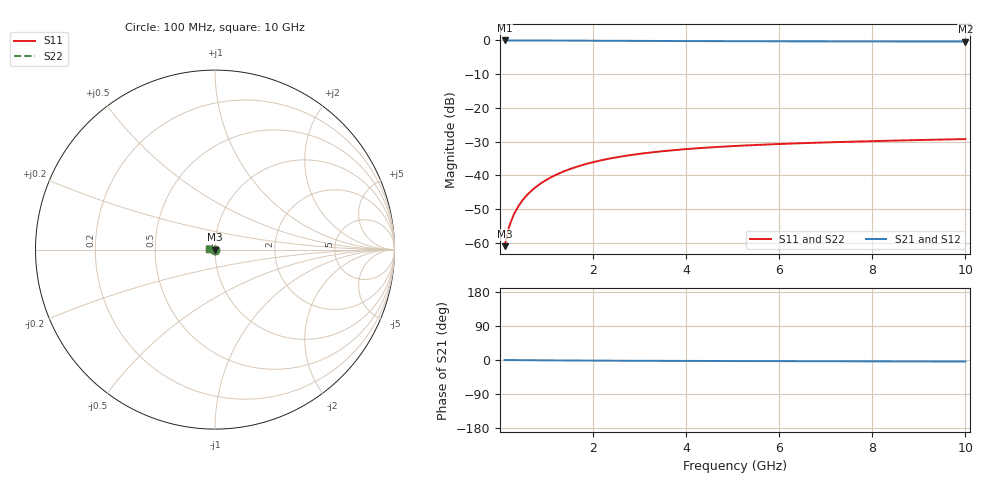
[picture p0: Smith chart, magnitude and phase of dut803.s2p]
! Touchstone file exported from HFSS 2024.1.0
!  File:  C:/UserFiles/LocalFiles/RDL_TSV_Batchsim/temp_TSV1_803_1779876692.aedt
!  Generated:  06:16:32 PM May 27, 2026
!  Design:  TSV1
!  Project:  temp_TSV1_803_1779876692
!  Setup:  Setup1
!  Solution:  Sweep
! Variables:
!  dtsv = 9.27um
!  hbump = 3um
!  htsv = 61.24um
!  lrdl = 252.1521522um
!  p = 40
!  p1 = 47.83um
!  t = 500um
!  trdl = 3um
!  wrdl = 24.89489489um
# GHz S MA R 50.000000
! Terminal data exported
! Port[1] = TSV22_T1
! Port[2] = TSV22_T2
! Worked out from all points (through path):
!   100 points, 100 MHz to 10 GHz, reference 50 ohm
!   highest |S21| = 0.00 dB at 100 MHz (marker M1); lowest = -0.3 dB at 10 GHz (marker M2)
!   lowest |S11| = -61.0 dB at 100 MHz (marker M3), VSWR 1.00, Z = 50 - j0.0882 ohm
!   |S11| at or under -10 dB: start of sweep to end of sweep
!   |S22| runs from -61.0 to -29.3 dB; largest |S21 - S12| = 4.9e-15
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0.1  0.0008894 -82.4  0.9998 -0.1  0.9998 -0.1  0.0008894 -82.4
! Gamma 0 0 0 0
! Port Impedance 50 0 50 0
0.2  0.001768 -88.7  0.9997 -0.2  0.9997 -0.2  0.001768 -88.7
0.3  0.002649 -92.1  0.9996 -0.3  0.9996 -0.3  0.002649 -92.1
0.4  0.003527 -94.7  0.9994 -0.4  0.9994 -0.4  0.003527 -94.7
0.5  0.004397 -97.0  0.9991 -0.5  0.9991 -0.5  0.004397 -97.0
0.6  0.005257 -99.1  0.9988 -0.6  0.9988 -0.6  0.005257 -99.1
0.7  0.006107 -101.2  0.9984 -0.6  0.9984 -0.6  0.006107 -101.2
0.8  0.006944 -103.1  0.998 -0.7  0.998 -0.7  0.006944 -103.1
0.9  0.007766 -105.0  0.9976 -0.8  0.9976 -0.8  0.007766 -105.0
1.1  0.009365 -108.6  0.9966 -1.0  0.9966 -1.0  0.009365 -108.6
1.4  0.01163 -113.8  0.9949 -1.2  0.9949 -1.2  0.01163 -113.8
1.6  0.01305 -117.1  0.9936 -1.4  0.9936 -1.4  0.01305 -117.1
1.8  0.01438 -120.3  0.9923 -1.5  0.9923 -1.5  0.01439 -120.3
2.1  0.01624 -124.8  0.9903 -1.7  0.9903 -1.7  0.01624 -124.8
2.5  0.01845 -130.3  0.9876 -1.9  0.9876 -1.9  0.01845 -130.3
2.9  0.02037 -135.4  0.985 -2.1  0.985 -2.1  0.02037 -135.4
3.4  0.02242 -141.2  0.982 -2.3  0.982 -2.3  0.02242 -141.2
4.2  0.02505 -149.3  0.9778 -2.5  0.9778 -2.5  0.02505 -149.3
5.1  0.02733 -157.0  0.9741 -2.8  0.9741 -2.8  0.02733 -157.0
6.7  0.03028 -168.1  0.9693 -3.2  0.9693 -3.2  0.03028 -168.1
8.4  0.03262 -177.6  0.966 -3.7  0.966 -3.7  0.03262 -177.6
10  0.03447 175.0  0.9638 -4.1  0.9638 -4.1  0.03447 175.0
